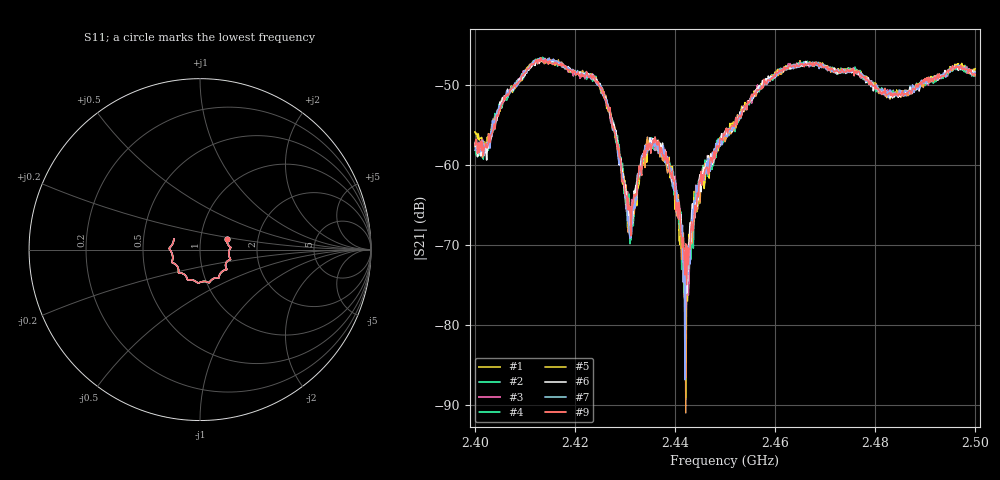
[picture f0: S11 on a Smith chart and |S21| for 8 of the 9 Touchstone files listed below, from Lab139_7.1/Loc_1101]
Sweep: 2.4 GHz to 2.5 GHz
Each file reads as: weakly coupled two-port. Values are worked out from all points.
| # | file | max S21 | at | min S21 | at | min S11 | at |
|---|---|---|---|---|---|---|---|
| 1 | Lab_139_1Ch1.s2p | -46.72 dB | 2.4135 GHz | -77.1 dB | 2.4425 GHz | -15.8 dB | 2.4987 GHz |
| 2 | Lab_139_3Ch1.s2p | -46.66 dB | 2.4135 GHz | -73.2 dB | 2.4425 GHz | -15.8 dB | 2.4987 GHz |
| 3 | Lab_139_4Ch1.s2p | -46.61 dB | 2.413 GHz | -76.3 dB | 2.4427 GHz | -15.8 dB | 2.4987 GHz |
| 4 | Lab_139_5Ch1.s2p | -46.51 dB | 2.4135 GHz | -81.4 dB | 2.4422 GHz | -15.8 dB | 2.4987 GHz |
| 5 | Lab_139_6Ch1.s2p | -46.57 dB | 2.4132 GHz | -91.0 dB | 2.4422 GHz | -15.8 dB | 2.4987 GHz |
| 6 | Lab_139_7Ch1.s2p | -46.75 dB | 2.4132 GHz | -76.1 dB | 2.4423 GHz | -15.8 dB | 2.4987 GHz |
| 7 | Lab_139_8Ch1.s2p | -46.60 dB | 2.4148 GHz | -86.9 dB | 2.442 GHz | -15.8 dB | 2.4987 GHz |
| 8 | Lab_139_9Ch1.s2p | -46.71 dB | 2.4145 GHz | -80.1 dB | 2.4422 GHz | -15.8 dB | 2.4987 GHz |
| 9 | Lab_139_10Ch1.s2p | -46.65 dB | 2.4132 GHz | -75.0 dB | 2.4423 GHz | -15.8 dB | 2.4987 GHz |
